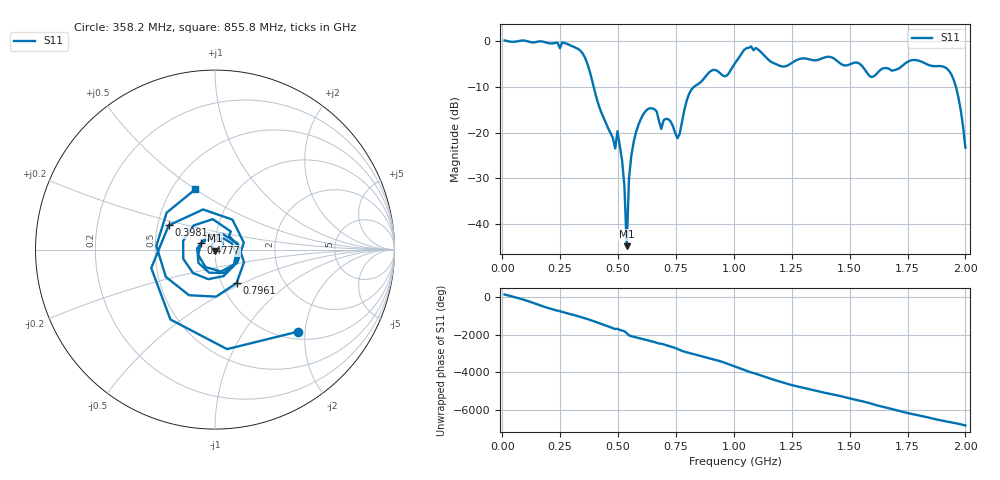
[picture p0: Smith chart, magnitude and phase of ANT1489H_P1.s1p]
!Created with skrf (http://scikit-rf.org).
# Hz S RI R 50.0
!freq ReS11 ImS11
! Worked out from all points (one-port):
!   201 points, 10 MHz to 2 GHz, reference 50 ohm
!   lowest |S11| = -44.9 dB at 537.4 MHz (marker M1), VSWR 1.01, Z = 49.8 - j0.512 ohm
!   |S11| at or under -10 dB: 394.6 MHz to 828 MHz (433.3 MHz wide, 70.9 % of centre); 1.959 GHz to end of sweep
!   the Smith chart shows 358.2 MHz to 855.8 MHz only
!   S11 on the Smith chart (normalised r, x): 358.2 MHz: 1.16, -1.83; 398.1 MHz: 0.57, +0.17; 477.6 MHz: 0.85, +0.07; 796 MHz: 1.18, -0.46; 855.8 MHz: 0.65, +0.50
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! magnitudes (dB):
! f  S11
! 10 MHz  0.1
! 258.8 MHz  -0.3
! 358.2 MHz  -3.7
! 398.1 MHz  -10.7
! 477.6 MHz  -21.2
! 487.6 MHz  -23.5
! 497.6 MHz  -19.7
! 507.5 MHz  -22.9
! 527.4 MHz  -31.7
! 537.4 MHz  -44.9
! 547.3 MHz  -30.0
! 557.2 MHz  -25.1
! 597 MHz  -17.2
! 656.8 MHz  -14.9
! 686.6 MHz  -19.2
! 716.5 MHz  -17.1
! 756.2 MHz  -21.3
! 796 MHz  -13.1
! 855.8 MHz  -9.0
! 1.005 GHz  -4.8
! 1.075 GHz  -1.2
! 1.254 GHz  -4.7
! 1.502 GHz  -5.1
! 1.592 GHz  -7.8
! 1.751 GHz  -4.5
! 1.93 GHz  -6.6
! 1.97 GHz  -12.4
! 2 GHz  -23.3
